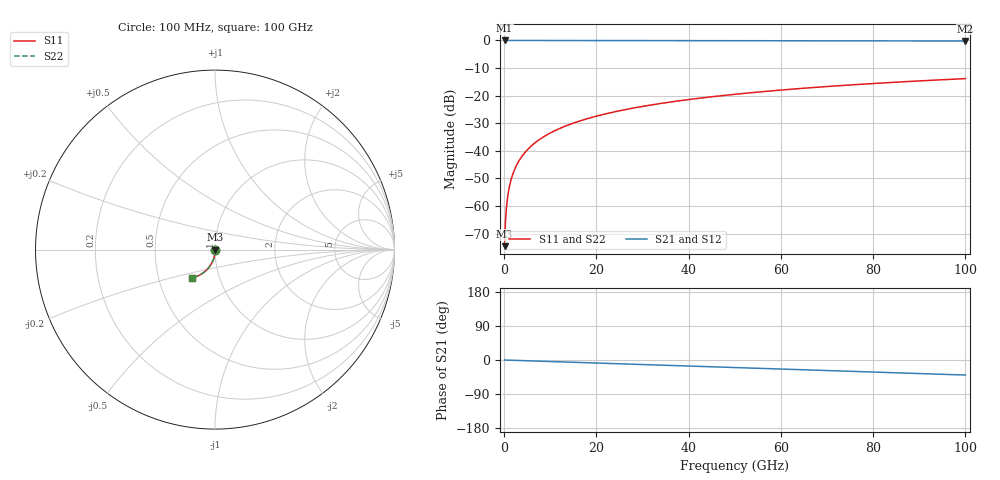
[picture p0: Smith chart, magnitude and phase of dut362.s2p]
! Touchstone file exported from HFSS 2026.1.0
!  File:  C:/ffzhzh/LocalFiles/Ansys_Project_Files/temp_train_TSV_362_1783510188_44152.aedt
!  Generated:  07:31:01 PM Jul  8, 2026
!  Design:  TSV
!  Project:  temp_train_TSV_362_1783510188_44152
! Variables:
!  h_bsmrdl = 2um
!  h_ox = 20um
!  h_rdl = 5um
!  h_sub = 78.45um
!  h_tmrdl = 5um
!  h_tsv = 78.45um
!  h_via = 3um
!  l_bsmrdl = 300um
!  l_sub = 428um
!  l_tmrdl = 200um
!  m_sub = 200um
!  pitch = 42.6um
!  r_tsv = 14um
!  s_tmrdl = 10um
!  w_bsmrdl = 18um
!  w_sub = 500um
!  w_tmrdl = 12um
!  x_tsv_center1 = 206um
!  x_tsv_center2 = 524um
!  x_tsv_center3 = 736um
!  x_tsv_center4 = 1054um
!  x_tsv_center5 = 1266um
!  x_tsv_center6 = 1584um
# GHz S MA R 50.000000
! Terminal data exported
! Port[1] = TSV1_1_T1
! Port[2] = TSV1_1_T2
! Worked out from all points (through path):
!   1000 points, 100 MHz to 100 GHz, reference 50 ohm
!   highest |S21| = 0.00 dB at 100 MHz (marker M1); lowest = -0.2 dB at 100 GHz (marker M2)
!   group delay of S21, straight-line fit = 1.1 ps
!   lowest |S11| = -74.6 dB at 100 MHz (marker M3), VSWR 1.00, Z = 50 - j0.0169 ohm
!   |S11| at or under -10 dB: start of sweep to end of sweep
!   |S22| runs from -74.6 to -13.8 dB; largest |S21 - S12| = 4.1e-15
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0.1  0.0001873 -64.3  0.9999 -0.0  0.9999 -0.0  0.0001873 -64.3
! Gamma 0 0 0 0
! Port Impedance 50 0 50 0
0.3  0.0005401 -77.3  0.9999 -0.1  0.9999 -0.1  0.0005401 -77.3
0.7  0.001338 -81.6  0.9998 -0.3  0.9998 -0.3  0.001338 -81.6
0.8  0.001544 -82.2  0.9998 -0.3  0.9998 -0.3  0.001544 -82.2
1  0.001957 -83.3  0.9998 -0.4  0.9998 -0.4  0.001957 -83.3
1.3  0.00258 -84.4  0.9997 -0.5  0.9997 -0.5  0.00258 -84.4
1.7  0.003411 -85.5  0.9997 -0.7  0.9997 -0.7  0.003411 -85.5
2.3  0.004665 -86.5  0.9996 -0.9  0.9996 -0.9  0.004665 -86.5
2.9  0.005926 -87.2  0.9996 -1.2  0.9996 -1.2  0.005926 -87.2
3.7  0.007618 -88.0  0.9995 -1.5  0.9995 -1.5  0.007618 -88.0
4.7  0.009742 -88.8  0.9994 -1.9  0.9994 -1.9  0.009742 -88.8
5.8  0.01208 -89.6  0.9993 -2.3  0.9993 -2.3  0.01208 -89.6
8.6  0.01806 -91.2  0.9991 -3.5  0.9991 -3.5  0.01806 -91.2
12.2  0.02577 -93.0  0.9988 -4.9  0.9988 -4.9  0.02577 -93.0
16.8  0.03563 -95.1  0.9984 -6.7  0.9984 -6.7  0.03563 -95.1
24.2  0.05145 -98.4  0.9975 -9.7  0.9975 -9.7  0.05145 -98.4
33.4  0.071 -102.2  0.996 -13.4  0.996 -13.4  0.071 -102.2
41.2  0.08743 -105.5  0.9945 -16.5  0.9945 -16.5  0.08743 -105.5
50.1  0.106 -109.1  0.9926 -20.0  0.9926 -20.0  0.106 -109.1
66.7  0.1397 -115.8  0.988 -26.6  0.988 -26.6  0.1397 -115.8
83.4  0.1724 -122.5  0.9825 -33.2  0.9825 -33.2  0.1724 -122.5
100  0.2034 -129.1  0.9761 -39.7  0.9761 -39.7  0.2034 -129.1
